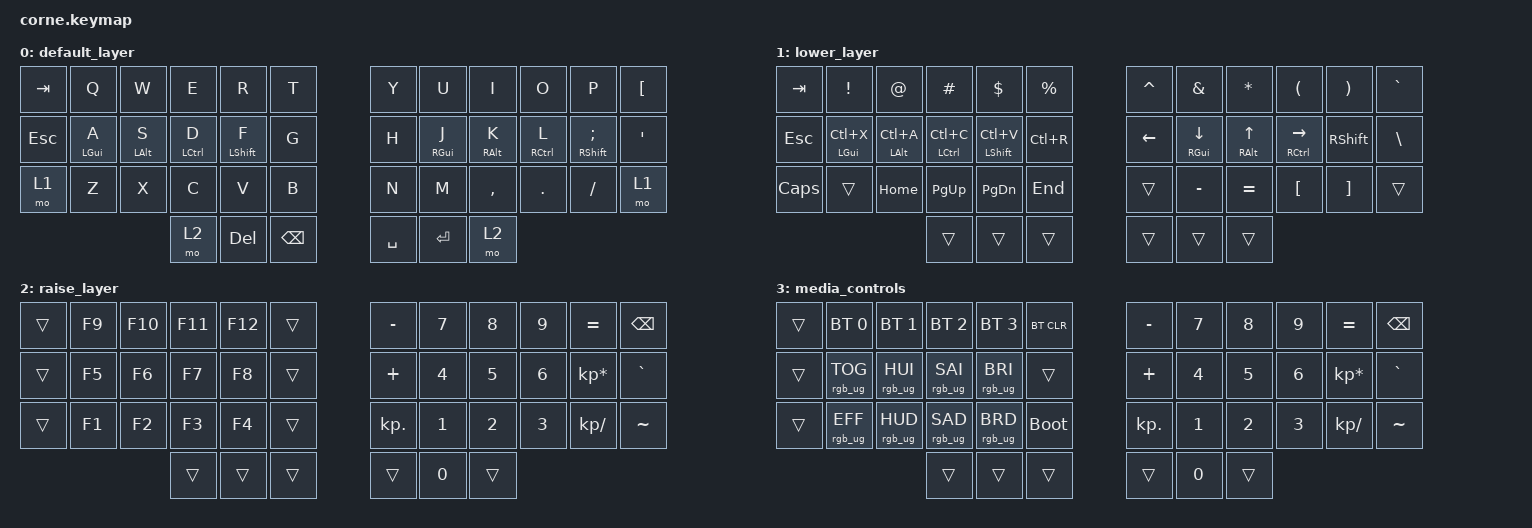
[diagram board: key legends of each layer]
/*
 * Copyright (c) 2020 The ZMK Contributors
 *
 * SPDX-License-Identifier: MIT
 */

#include <behaviors.dtsi>
#include <dt-bindings/zmk/bt.h>
#include <dt-bindings/zmk/keys.h>
#include <dt-bindings/zmk/rgb.h>

&led_strip { chain-length = <27>; };

/ {
    behaviors {
        hm: homerow_mods {
            compatible = "zmk,behavior-hold-tap";
            label = "HOMEROW_MODS";
            #binding-cells = <2>;
            tapping-term-ms = <175>;
            quick-tap-ms = <125>;
            flavor = "tap-preferred";
            bindings = <&kp>, <&kp>;
        };

        hrm_L: hrm_L {
            compatible = "zmk,behavior-hold-tap";
            label = "HRM_L";
            bindings = <&kp>, <&kp>;

            #binding-cells = <2>;
            tapping-term-ms = <175>;
            flavor = "tap-preferred";
            require-prior-idle-ms = <75>;
            quick-tap-ms = <125>;
            hold-trigger-on-release;
            hold-trigger-key-positions = <6 7 8 9 10 11 18 19 20 21 22 23 30 31 32 33 34 35 40 41 39>;
            hold-while-undecided-linger;
        };

        hrm_R: hrm_R {
            compatible = "zmk,behavior-hold-tap";
            label = "HRM_R";
            #binding-cells = <2>;
            tapping-term-ms = <175>;
            quick-tap-ms = <125>;
            require-prior-idle-ms = <75>;
            flavor = "tap-preferred";
            hold-trigger-on-release;
            bindings = <&kp>, <&kp>;

            hold-trigger-key-positions = <0 1 2 3 4 5 12 13 14 15 16 17 24 25 26 27 28 29 36 37 38>;
            hold-while-undecided-linger;
        };
    };

    combos {
        compatible = "zmk,combos";

        acces_media_controls {
            bindings = <&mo 3>;
            key-positions = <41 35>;
        };
    };

    kscan: kscan {
        compatible = "zmk,kscan-gpio-matrix";
        diode-direction = "col2row";
        wakeup-source;
    };

    keymap {
        compatible = "zmk,keymap";

        default_layer {
            // -----------------------------------------------------------------------------------------
            // |  TAB |  Q  |  W  |  E  |  R  |  T  |   |  Y  |  U   |  I  |  O  |  P  | BKSP |
            // | CTRL |  A  |  S  |  D  |  F  |  G  |   |  H  |  J   |  K  |  L  |  ;  |  '   |
            // | SHFT |  Z  |  X  |  C  |  V  |  B  |   |  N  |  M   |  ,  |  .  |  /  | SHFT |
            //                    | GUI | LWR | ENT |   | SPC | RSE  | ALT |

            bindings = <
&kp TAB  &kp Q              &kp W              &kp E                  &kp R                &kp T            &kp Y      &kp U               &kp I               &kp O                   &kp P                    &kp LEFT_BRACKET
&kp ESC  &hrm_L LEFT_GUI A  &hrm_L LEFT_ALT S  &hrm_L LEFT_CONTROL D  &hrm_L LEFT_SHIFT F  &kp G            &kp H      &hrm_R RIGHT_GUI J  &hrm_R RIGHT_ALT K  &hrm_R RIGHT_CONTROL L  &hrm_R RIGHT_SHIFT SEMI  &kp SQT
&mo 1    &kp Z              &kp X              &kp C                  &kp V                &kp B            &kp N      &kp M               &kp COMMA           &kp DOT                 &kp FSLH                 &mo 1
                                               &mo 2                  &kp DELETE           &kp BACKSPACE    &kp SPACE  &kp ENTER           &mo 2
            >;
        };

        lower_layer {
            // -----------------------------------------------------------------------------------------
            // |  TAB |  1    |  2  |  3  |  4  |  5  |   |  6  |  7  |  8  |  9  |  0  | BKSP |
            // | LCTRL| BTCLR | BT0 | BT1 | BT2 | BT3 |   | LFT | DWN |  UP | RGT |     |      |
            // | ESC  |       | HOME| PGUP| PGDN| END |   |     |     |     |     |     |      |
            //                      | GUI |     | SPC |   | ENT |     | ALT |

            bindings = <
&kp TAB       &kp EXCL               &kp AT_SIGN         &kp HASH                   &kp DOLLAR               &kp PERCENT    &kp CARET  &kp AMPERSAND          &kp ASTERISK         &kp LEFT_PARENTHESIS        &kp RIGHT_PARENTHESIS  &kp GRAVE
&kp ESC       &hrm_L LEFT_GUI LC(X)  &hm LEFT_ALT LC(A)  &hrm_L LEFT_CONTROL LC(C)  &hrm_L LEFT_SHIFT LC(V)  &kp LC(R)      &kp LEFT   &hrm_R RIGHT_GUI DOWN  &hrm_R RIGHT_ALT UP  &hrm_R RIGHT_CONTROL RIGHT  &kp RIGHT_SHIFT        &kp BACKSLASH
&kp CAPSLOCK  &trans                 &kp HOME            &kp PG_UP                  &kp PG_DN                &kp END        &trans     &kp MINUS              &kp EQUAL            &kp LEFT_BRACKET            &kp RIGHT_BRACKET      &trans
                                                         &trans                     &trans                   &trans         &trans     &trans                 &trans
            >;
        };

        raise_layer {
            // -----------------------------------------------------------------------------------------
            // |  TAB |   !   |   @   |   #   |   $   |   %   |   |  ^  |  &  |  *  |  (  |  )  | BKSP |
            // | CTRL |RGB_TOG|RGB_HUI|RGB_SAI|RGB_VAI|       |   |  -  |  =  |  [  |  ]  |  \  |  `   |
            // | SHFT |RGB_MOD|RGB_HUD|RGB_SAD|RGB_VAD|QK_BOOT|   |  _  |  +  |  {  |  }  | "|" |  ~   |
            //                            | GUI |     |  SPC  |   | ENT |     | ALT |

            bindings = <
&trans  &kp F9  &kp F10  &kp F11  &kp F12  &trans    &kp MINUS   &kp N7  &kp N8  &kp N9  &kp EQUAL        &kp BSPC
&trans  &kp F5  &kp F6   &kp F7   &kp F8   &trans    &kp PLUS    &kp N4  &kp N5  &kp N6  &kp KP_MULTIPLY  &kp GRAVE
&trans  &kp F1  &kp F2   &kp F3   &kp F4   &trans    &kp KP_DOT  &kp N1  &kp N2  &kp N3  &kp KP_DIVIDE    &kp TILDE
                         &trans   &trans   &trans    &trans      &kp N0  &trans
            >;
        };

        media_controls {
            bindings = <
&trans  &bt BT_SEL 0     &bt BT_SEL 1     &bt BT_SEL 2     &bt BT_SEL 3     &bt BT_CLR     &kp MINUS   &kp N7  &kp N8  &kp N9  &kp EQUAL        &kp BSPC
&trans  &rgb_ug RGB_TOG  &rgb_ug RGB_HUI  &rgb_ug RGB_SAI  &rgb_ug RGB_BRI  &trans         &kp PLUS    &kp N4  &kp N5  &kp N6  &kp KP_MULTIPLY  &kp GRAVE
&trans  &rgb_ug RGB_EFF  &rgb_ug RGB_HUD  &rgb_ug RGB_SAD  &rgb_ug RGB_BRD  &bootloader    &kp KP_DOT  &kp N1  &kp N2  &kp N3  &kp KP_DIVIDE    &kp TILDE
                                          &trans           &trans           &trans         &trans      &kp N0  &trans
            >;
        };
    };
};
